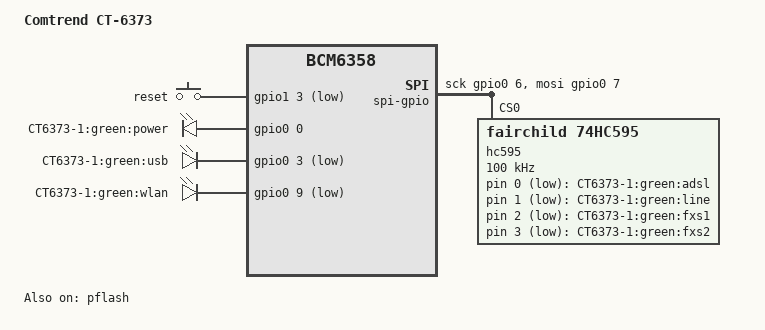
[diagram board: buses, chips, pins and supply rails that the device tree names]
/dts-v1/;

#include "bcm6358.dtsi"

#include <dt-bindings/input/input.h>

/ {
	model = "Comtrend CT-6373";
	compatible = "comtrend,ct-6373", "brcm,bcm6358";

	spi-gpio {
		#address-cells = <1>;
		#size-cells = <1>;
		compatible = "spi-gpio";

		gpio-mosi = <&gpio0 7 0>;
		gpio-sck = <&gpio0 6 0>;
		num-chipselects = <0>;

		hc595: gpio-spi-controller@0 {
			compatible = "fairchild,74hc595";
			reg = <0>;
			registers-number = <1>;
			spi-max-frequency = <100000>;

			gpio-controller;
			#gpio-cells = <2>;
		};
	};

	gpio-keys-polled {
		compatible = "gpio-keys-polled";
		#address-cells = <1>;
		#size-cells = <0>;
		poll-interval = <20>;
		debounce-interval = <60>;

		reset {
			label = "reset";
			gpios = <&gpio1 3 1>;
			linux,code = <KEY_RESTART>;
		};
	};

	gpio-leds {
		compatible = "gpio-leds";

		power_green {
			label = "CT6373-1:green:power";
			gpios = <&gpio0 0 0>;
			default-state = "on";
		};
		usb_green {
			label = "CT6373-1:green:usb";
			gpios = <&gpio0 3 1>;
		};
		wlan_green {
			label = "CT6373-1:green:wlan";
			gpios = <&gpio0 9 1>;
		};
		dsl_green {
			label = "CT6373-1:green:adsl";
			gpios = <&hc595 0 1>;
		};
		line_green {
			label = "CT6373-1:green:line";
			gpios = <&hc595 1 1>;
		};
		fxs1_green {
			label = "CT6373-1:green:fxs1";
			gpios = <&hc595 2 1>;
		};
		fxs2_green {
			label = "CT6373-1:green:fxs2";
			gpios = <&hc595 3 1>;
		};
	};
};

&pflash {
	status = "ok";

	linux,part-probe = "bcm63xxpart";

	cfe@0 {
		label = "CFE";
		reg = <0x000000 0x010000>;
		read-only;
	};

	linux@10000 {
		label = "linux";
		reg = <0x010000 0x7e0000>;
	};

	nvram@7f0000 {
		label = "nvram";
		reg = <0x7f0000 0x010000>;
	};
};
